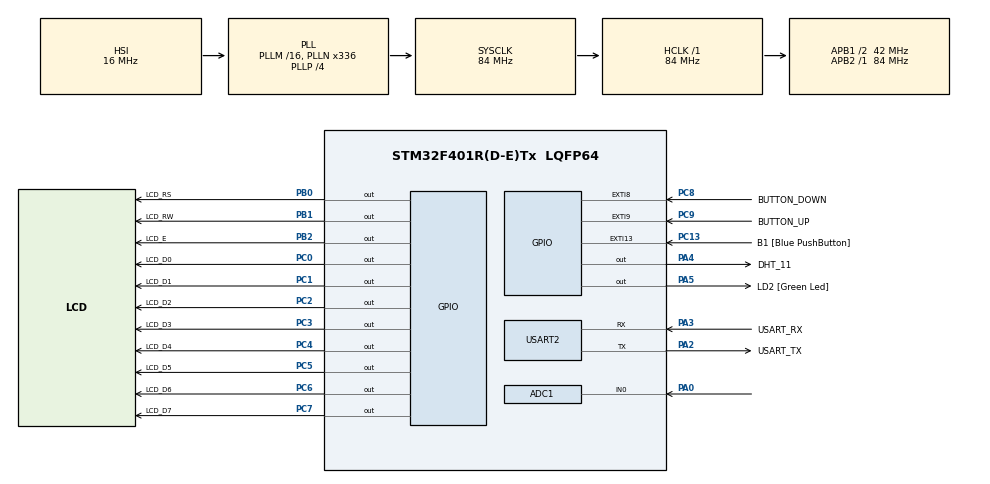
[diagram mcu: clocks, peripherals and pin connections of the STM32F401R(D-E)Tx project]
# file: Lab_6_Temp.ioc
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ADC1.Channel-0\#ChannelRegularConversion=ADC_CHANNEL_0
ADC1.ClockPrescaler=ADC_CLOCK_SYNC_PCLK_DIV8
ADC1.NbrOfConversionFlag=1
ADC1.Rank-0\#ChannelRegularConversion=1
ADC1.SamplingTime-0\#ChannelRegularConversion=ADC_SAMPLETIME_480CYCLES
ADC1.ScanConvMode=DISABLE
ADC1.master=1
Mcu.Family=STM32F4
Mcu.Name=STM32F401R(D-E)Tx
Mcu.Package=LQFP64
NVIC.EXTI9_5_IRQn=true\:0\:0\:false\:false\:true\:true
NVIC.PriorityGroup=NVIC_PRIORITYGROUP_0
NVIC.TIM1_TRG_COM_TIM11_IRQn=true\:0\:0\:false\:false\:true\:true
NVIC.TIM1_UP_TIM10_IRQn=true\:0\:0\:false\:false\:true\:true
PA0-WKUP.Signal=ADCx_IN0
PA13.GPIO_Label=TMS
PA13.Mode=Serial_Wire
PA13.Signal=SYS_JTMS-SWDIO
PA14.GPIO_Label=TCK
PA14.Mode=Serial_Wire
PA14.Signal=SYS_JTCK-SWCLK
PA2.GPIO_Label=USART_TX
PA2.GPIO_Mode=GPIO_MODE_AF_PP
PA2.GPIO_PuPd=GPIO_NOPULL
PA2.GPIO_Speed=GPIO_SPEED_FREQ_LOW
PA2.Mode=Asynchronous
PA2.Signal=USART2_TX
PA3.GPIO_Label=USART_RX
PA3.GPIO_Mode=GPIO_MODE_AF_PP
PA3.GPIO_PuPd=GPIO_NOPULL
PA3.GPIO_Speed=GPIO_SPEED_FREQ_LOW
PA3.Mode=Asynchronous
PA3.Signal=USART2_RX
PA4.GPIO_Label=DHT_11
PA4.GPIO_ModeDefaultOutputPP=GPIO_MODE_OUTPUT_OD
PA4.GPIO_PuPd=GPIO_PULLUP
PA4.Signal=GPIO_Output
PA5.GPIO_Label=LD2 [Green Led]
PA5.GPIO_Mode=GPIO_MODE_OUTPUT_PP
PA5.GPIO_PuPd=GPIO_NOPULL
PA5.GPIO_Speed=GPIO_SPEED_FREQ_LOW
PA5.Signal=GPIO_Output
PB0.GPIO_Label=LCD_RS
PB0.Signal=GPIO_Output
PB1.GPIO_Label=LCD_RW
PB1.Signal=GPIO_Output
PB2.GPIO_Label=LCD_E
PB2.Signal=GPIO_Output
PB3.GPIO_Label=SWO
PB3.Signal=SYS_JTDO-SWO
PC0.GPIO_Label=LCD_D0
PC0.Signal=GPIO_Output
PC1.GPIO_Label=LCD_D1
PC1.Signal=GPIO_Output
PC13-ANTI_TAMP.GPIO_Label=B1 [Blue PushButton]
PC13-ANTI_TAMP.GPIO_ModeDefaultEXTI=GPIO_MODE_IT_FALLING
PC13-ANTI_TAMP.GPIO_PuPd=GPIO_NOPULL
PC13-ANTI_TAMP.Signal=GPXTI13
PC14-OSC32_IN.Mode=LSE-External-Oscillator
PC14-OSC32_IN.Signal=RCC_OSC32_IN
PC15-OSC32_OUT.Mode=LSE-External-Oscillator
PC15-OSC32_OUT.Signal=RCC_OSC32_OUT
PC2.GPIO_Label=LCD_D2
PC2.Signal=GPIO_Output
PC3.GPIO_Label=LCD_D3
PC3.Signal=GPIO_Output
PC4.GPIO_Label=LCD_D4
PC4.Signal=GPIO_Output
PC5.GPIO_Label=LCD_D5
PC5.Signal=GPIO_Output
PC6.GPIO_Label=LCD_D6
PC6.Signal=GPIO_Output
PC7.GPIO_Label=LCD_D7
PC7.Signal=GPIO_Output
PC8.GPIO_Label=BUTTON_DOWN
PC8.GPIO_ModeDefaultEXTI=GPIO_MODE_IT_FALLING
PC8.Signal=GPXTI8
PC9.GPIO_Label=BUTTON_UP
PC9.GPIO_ModeDefaultEXTI=GPIO_MODE_IT_FALLING
PC9.Signal=GPXTI9
PH0\ -\ OSC_IN.Mode=HSE-External-Clock-Source
PH0\ -\ OSC_IN.Signal=RCC_OSC_IN
PH1\ -\ OSC_OUT.Mode=HSE-External-Clock-Source
PH1\ -\ OSC_OUT.Signal=RCC_OSC_OUT
ProjectManager.HeapSize=0x200
ProjectManager.StackSize=0x400
ProjectManager.TargetToolchain=TrueSTUDIO
RCC.48MHZClocksFreq_Value=48000000
RCC.AHBFreq_Value=84000000
RCC.APB1CLKDivider=RCC_HCLK_DIV2
RCC.APB1Freq_Value=42000000
RCC.APB1TimFreq_Value=84000000
RCC.APB2Freq_Value=84000000
RCC.APB2TimFreq_Value=84000000
RCC.CortexFreq_Value=84000000
RCC.HCLKFreq_Value=84000000
RCC.HSE_VALUE=8000000
RCC.HSI_VALUE=16000000
RCC.PLLN=336
RCC.PLLP=RCC_PLLP_DIV4
RCC.PLLQ=7
RCC.SYSCLKFreq_VALUE=84000000
RCC.SYSCLKSource=RCC_SYSCLKSOURCE_PLLCLK
RCC.VCOOutputFreq_Value=336000000
SH.ADCx_IN0.0=ADC1_IN0,IN0
TIM10.Period=62499
TIM10.Prescaler=1343
TIM11.Period=79
USART2.VirtualMode=VM_ASYNC
VP_TIM10_VS_ClockSourceINT.Mode=Enable_Timer
VP_TIM11_VS_ClockSourceINT.Mode=Enable_Timer
board=NUCLEO-F401RE

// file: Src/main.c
/**
 ******************************************************************************
 * @file           : main.c
 * @brief          : Main program body
 ******************************************************************************
 ** This notice applies to any and all portions of this file
 * that are not between comment pairs USER CODE BEGIN and
 * USER CODE END. Other portions of this file, whether
 * inserted by the user or by software development tools
 * are owned by their respective copyright owners.
 *
 * COPYRIGHT(c) 2018 STMicroelectronics
 *
 * Redistribution and use in source and binary forms, with or without modification,
 * are permitted provided that the following conditions are met:
 *   1. Redistributions of source code must retain the above copyright notice,
 *      this list of conditions and the following disclaimer.
 *   2. Redistributions in binary form must reproduce the above copyright notice,
 *      this list of conditions and the following disclaimer in the documentation
 *      and/or other materials provided with the distribution.
 *   3. Neither the name of STMicroelectronics nor the names of its contributors
 *      may be used to endorse or promote products derived from this software
 *      without specific prior written permission.
 *
 * THIS SOFTWARE IS PROVIDED BY THE COPYRIGHT HOLDERS AND CONTRIBUTORS "AS IS"
 * AND ANY EXPRESS OR IMPLIED WARRANTIES, INCLUDING, BUT NOT LIMITED TO, THE
 * IMPLIED WARRANTIES OF MERCHANTABILITY AND FITNESS FOR A PARTICULAR PURPOSE ARE
 * DISCLAIMED. IN NO EVENT SHALL THE COPYRIGHT HOLDER OR CONTRIBUTORS BE LIABLE
 * FOR ANY DIRECT, INDIRECT, INCIDENTAL, SPECIAL, EXEMPLARY, OR CONSEQUENTIAL
 * DAMAGES (INCLUDING, BUT NOT LIMITED TO, PROCUREMENT OF SUBSTITUTE GOODS OR
 * SERVICES; LOSS OF USE, DATA, OR PROFITS; OR BUSINESS INTERRUPTION) HOWEVER
 * CAUSED AND ON ANY THEORY OF LIABILITY, WHETHER IN CONTRACT, STRICT LIABILITY,
 * OR TORT (INCLUDING NEGLIGENCE OR OTHERWISE) ARISING IN ANY WAY OUT OF THE USE
 * OF THIS SOFTWARE, EVEN IF ADVISED OF THE POSSIBILITY OF SUCH DAMAGE.
 *
 ******************************************************************************
 */
#include "main.h"
#include "stm32f4xx_hal.h"

/* USER CODE BEGIN Includes */
#include <math.h>
#include "delay.h"
#include "lcdDisplay.h"
/* USER CODE END Includes */

ADC_HandleTypeDef hadc1;

TIM_HandleTypeDef htim10;
TIM_HandleTypeDef htim11;

UART_HandleTypeDef huart2;

/* USER CODE BEGIN PV */
/* Private variables ---------------------------------------------------------*/
extern uint32_t sekTick, usekTick;
TextLCDType lcd;
uint8_t rows = 2, cols = 16;

typedef enum {
	s_ZERO, s_ONE
} position_state;
//typedef enum {FALSE, TRUE} bool;
position_state s_position = s_ZERO;

uint32_t sekCounter = 0;

uint16_t channel_1 = 0;

uint16_t DHT11_timeout = 10000;
int16_t DHT11_buff_raw[41];
int8_t DHT11_data[5];
int8_t _userTemp = 20;
/* USER CODE END PV */

void SystemClock_Config(void);
static void MX_GPIO_Init(void);
static void MX_USART2_UART_Init(void);
static void MX_TIM10_Init(void);
static void MX_TIM11_Init(void);
static void MX_ADC1_Init(void);

/* USER CODE BEGIN PFP */
/* Private function prototypes -----------------------------------------------*/
//HAL_GPIO_EXTI_IRQHandler(uint16_t GPIO_Pin);
void HAL_GPIO_EXTI_Callback(uint16_t GPIO_Pin);
int16_t read_DHT11(void);
int16_t read_DHT11_bit_raw(void);
int16_t readAnalogTemp(void);
void printClock(TextLCDType *lcd, uint8_t x, uint8_t y, uint8_t time);
void decreaseUserTemp(void);
void increaseUserTemp(void);
/* USER CODE END PFP */

int main(void) {

	/* MCU Configuration----------------------------------------------------------*/

	/* Reset of all peripherals, Initializes the Flash interface and the Systick. */
	HAL_Init();

	/* Configure the system clock */
	SystemClock_Config();

	/* Initialize all configured peripherals */
	MX_GPIO_Init();
	MX_TIM10_Init();
	MX_TIM11_Init();
	MX_ADC1_Init();
	/* USER CODE BEGIN 2 */
	MX_USART2_UART_Init();

	HAL_TIM_Base_Start_IT(&htim10);
	TextLCD_Init(&lcd, LCD_RS_GPIO_Port, LCD_RS_Pin, LCD_RW_Pin, LCD_E_Pin,
	LCD_D0_GPIO_Port,
			(LCD_D0_Pin | LCD_D1_Pin | LCD_D2_Pin | LCD_D3_Pin | LCD_D4_Pin
					| LCD_D5_Pin | LCD_D6_Pin | LCD_D7_Pin), rows, cols);

	TextLCD_Puts(&lcd, "Goddag! :)");
	/* USER CODE END 2 */

	/* Infinite loop */
	/* USER CODE BEGIN WHILE */
	int i = 0;

	uint8_t sekCount = 0;
	sekTick = 39660;
	uint32_t currentSek = sekTick + 1;
	uint16_t str[20];

	int16_t _temp;
	int16_t _DHT11;
	while (1) {

		/* USER CODE END WHILE */

		/* USER CODE BEGIN 3 */

		if (currentSek != sekTick) {

			uint32_t temp = sekTick;

			uint32_t hours = temp / 3600;
			uint32_t tenHours = hours / 10;

			uint32_t minutes = (temp % 3600) / 60;
			uint32_t tenMinutes = minutes / 10;

			uint32_t seconds = temp % 60;
			uint32_t tenSeconds = seconds / 10;

			TextLCD_Position(&lcd, 1, 0);

			//TextLCD_Position(lcd, x, y);

			TextLCD_Putchar(&lcd, 0x30 + tenHours);
			TextLCD_Putchar(&lcd, 0x30 + hours % 10);
			TextLCD_Putchar(&lcd, ':');
			TextLCD_Putchar(&lcd, 0x30 + tenMinutes);
			TextLCD_Putchar(&lcd, 0x30 + (minutes % 10));
			TextLCD_Putchar(&lcd, ':');
			TextLCD_Putchar(&lcd, 0x30 + (tenSeconds % 10));
			TextLCD_Putchar(&lcd, 0x30 + (seconds % 10));

			//USER TEMP PRINT
			TextLCD_Position(&lcd, 0, 10);
			TextLCD_PutInt(&lcd, _userTemp);
			TextLCD_Putchar(&lcd, 'C');
			TextLCD_Putchar(&lcd, ' ');

			currentSek = sekTick;

			sekCount = (sekCount + 1) % 60;
			i++;

			HAL_GPIO_TogglePin(LD2_GPIO_Port, LD2_Pin);

			//HAL_Delay(1000);

		}
		//every 5th second
		if ((sekTick % 2) == 0) {
			HAL_Delay(1000);

			_temp = readAnalogTemp();
			_DHT11 = read_DHT11();

			sprintf(str, "DHT11:%d | temp:%d \n\r", _DHT11, _temp);
			HAL_UART_Transmit(&huart2, str, strlen(str), 1000);

			TextLCD_Position(&lcd, 1, 9);
			TextLCD_PutInt(&lcd, _DHT11);
			TextLCD_Putchar(&lcd, 'C');
			TextLCD_PutInt(&lcd, _temp);
			TextLCD_Putchar(&lcd, 'C');
			TextLCD_Putchar(&lcd, ' ');
		}

		HAL_Delay(10);

	}
	/* USER CODE END 3 */

}

void SystemClock_Config(void) {

	RCC_OscInitTypeDef RCC_OscInitStruct;
	RCC_ClkInitTypeDef RCC_ClkInitStruct;

	/**Configure the main internal regulator output voltage
	 */
	__HAL_RCC_PWR_CLK_ENABLE()
	;

	__HAL_PWR_VOLTAGESCALING_CONFIG(PWR_REGULATOR_VOLTAGE_SCALE2);

	/**Initializes the CPU, AHB and APB busses clocks
	 */
	RCC_OscInitStruct.OscillatorType = RCC_OSCILLATORTYPE_HSI;
	RCC_OscInitStruct.HSIState = RCC_HSI_ON;
	RCC_OscInitStruct.HSICalibrationValue = 16;
	RCC_OscInitStruct.PLL.PLLState = RCC_PLL_ON;
	RCC_OscInitStruct.PLL.PLLSource = RCC_PLLSOURCE_HSI;
	RCC_OscInitStruct.PLL.PLLM = 16;
	RCC_OscInitStruct.PLL.PLLN = 336;
	RCC_OscInitStruct.PLL.PLLP = RCC_PLLP_DIV4;
	RCC_OscInitStruct.PLL.PLLQ = 7;
	if (HAL_RCC_OscConfig(&RCC_OscInitStruct) != HAL_OK) {
		_Error_Handler(__FILE__, __LINE__);
	}

	/**Initializes the CPU, AHB and APB busses clocks
	 */
	RCC_ClkInitStruct.ClockType = RCC_CLOCKTYPE_HCLK | RCC_CLOCKTYPE_SYSCLK
			| RCC_CLOCKTYPE_PCLK1 | RCC_CLOCKTYPE_PCLK2;
	RCC_ClkInitStruct.SYSCLKSource = RCC_SYSCLKSOURCE_PLLCLK;
	RCC_ClkInitStruct.AHBCLKDivider = RCC_SYSCLK_DIV1;
	RCC_ClkInitStruct.APB1CLKDivider = RCC_HCLK_DIV2;
	RCC_ClkInitStruct.APB2CLKDivider = RCC_HCLK_DIV1;

	if (HAL_RCC_ClockConfig(&RCC_ClkInitStruct, FLASH_LATENCY_2) != HAL_OK) {
		_Error_Handler(__FILE__, __LINE__);
	}

	/**Configure the Systick interrupt time
	 */
	HAL_SYSTICK_Config(HAL_RCC_GetHCLKFreq() / 1000);

	/**Configure the Systick
	 */
	HAL_SYSTICK_CLKSourceConfig(SYSTICK_CLKSOURCE_HCLK);

	/* SysTick_IRQn interrupt configuration */
	HAL_NVIC_SetPriority(SysTick_IRQn, 0, 0);
}

/* ADC1 init function */
static void MX_ADC1_Init(void) {

	ADC_ChannelConfTypeDef sConfig;

	/**Configure the global features of the ADC (Clock, Resolution, Data Alignment and number of conversion)
	 */
	hadc1.Instance = ADC1;
	hadc1.Init.ClockPrescaler = ADC_CLOCK_SYNC_PCLK_DIV8;
	hadc1.Init.Resolution = ADC_RESOLUTION_12B;
	hadc1.Init.ScanConvMode = DISABLE;
	hadc1.Init.ContinuousConvMode = DISABLE;
	hadc1.Init.DiscontinuousConvMode = DISABLE;
	hadc1.Init.ExternalTrigConvEdge = ADC_EXTERNALTRIGCONVEDGE_NONE;
	hadc1.Init.ExternalTrigConv = ADC_SOFTWARE_START;
	hadc1.Init.DataAlign = ADC_DATAALIGN_RIGHT;
	hadc1.Init.NbrOfConversion = 1;
	hadc1.Init.DMAContinuousRequests = DISABLE;
	hadc1.Init.EOCSelection = ADC_EOC_SINGLE_CONV;
	if (HAL_ADC_Init(&hadc1) != HAL_OK) {
		_Error_Handler(__FILE__, __LINE__);
	}

	/**Configure for the selected ADC regular channel its corresponding rank in the sequencer and its sample time.
	 */
	sConfig.Channel = ADC_CHANNEL_0;
	sConfig.Rank = 1;
	sConfig.SamplingTime = ADC_SAMPLETIME_480CYCLES;
	if (HAL_ADC_ConfigChannel(&hadc1, &sConfig) != HAL_OK) {
		_Error_Handler(__FILE__, __LINE__);
	}

}

/* TIM10 init function */
static void MX_TIM10_Init(void) {

	htim10.Instance = TIM10;
	htim10.Init.Prescaler = 1343;
	htim10.Init.CounterMode = TIM_COUNTERMODE_UP;
	htim10.Init.Period = 62499;
	htim10.Init.ClockDivision = TIM_CLOCKDIVISION_DIV1;
	if (HAL_TIM_Base_Init(&htim10) != HAL_OK) {
		_Error_Handler(__FILE__, __LINE__);
	}

}

/* TIM11 init function */
static void MX_TIM11_Init(void) {

	htim11.Instance = TIM11;
	htim11.Init.Prescaler = 0;
	htim11.Init.CounterMode = TIM_COUNTERMODE_UP;
	htim11.Init.Period = 79;
	htim11.Init.ClockDivision = TIM_CLOCKDIVISION_DIV1;
	if (HAL_TIM_Base_Init(&htim11) != HAL_OK) {
		_Error_Handler(__FILE__, __LINE__);
	}

}

/* USART2 init function */
static void MX_USART2_UART_Init(void) {

	huart2.Instance = USART2;
	huart2.Init.BaudRate = 115200;
	huart2.Init.WordLength = UART_WORDLENGTH_8B;
	huart2.Init.StopBits = UART_STOPBITS_1;
	huart2.Init.Parity = UART_PARITY_NONE;
	huart2.Init.Mode = UART_MODE_TX_RX;
	huart2.Init.HwFlowCtl = UART_HWCONTROL_NONE;
	huart2.Init.OverSampling = UART_OVERSAMPLING_16;
	if (HAL_UART_Init(&huart2) != HAL_OK) {
		_Error_Handler(__FILE__, __LINE__);
	}

}

/** Configure pins as
 * Analog
 * Input
 * Output
 * EVENT_OUT
 * EXTI
 */
static void MX_GPIO_Init(void) {

	GPIO_InitTypeDef GPIO_InitStruct;

	/* GPIO Ports Clock Enable */
	__HAL_RCC_GPIOC_CLK_ENABLE()
	;
	__HAL_RCC_GPIOH_CLK_ENABLE()
	;
	__HAL_RCC_GPIOA_CLK_ENABLE()
	;
	__HAL_RCC_GPIOB_CLK_ENABLE()
	;

	/*Configure GPIO pin Output Level */
	HAL_GPIO_WritePin(GPIOC,
			LCD_D0_Pin | LCD_D1_Pin | LCD_D2_Pin | LCD_D3_Pin | LCD_D4_Pin
					| LCD_D5_Pin | LCD_D6_Pin | LCD_D7_Pin, GPIO_PIN_RESET);

	/*Configure GPIO pin Output Level */
	HAL_GPIO_WritePin(GPIOA, DHT_11_Pin | LD2_Pin, GPIO_PIN_RESET);

	/*Configure GPIO pin Output Level */
	HAL_GPIO_WritePin(GPIOB, LCD_RS_Pin | LCD_RW_Pin | LCD_E_Pin,
			GPIO_PIN_RESET);

	/*Configure GPIO pins : B1_Pin BUTTON_DOWN_Pin BUTTON_UP_Pin */
	GPIO_InitStruct.Pin = B1_Pin | BUTTON_DOWN_Pin | BUTTON_UP_Pin;
	GPIO_InitStruct.Mode = GPIO_MODE_IT_FALLING;
	GPIO_InitStruct.Pull = GPIO_NOPULL;
	HAL_GPIO_Init(GPIOC, &GPIO_InitStruct);

	/*Configure GPIO pins : LCD_D0_Pin LCD_D1_Pin LCD_D2_Pin LCD_D3_Pin
	 LCD_D4_Pin LCD_D5_Pin LCD_D6_Pin LCD_D7_Pin */
	GPIO_InitStruct.Pin = LCD_D0_Pin | LCD_D1_Pin | LCD_D2_Pin | LCD_D3_Pin
			| LCD_D4_Pin | LCD_D5_Pin | LCD_D6_Pin | LCD_D7_Pin;
	GPIO_InitStruct.Mode = GPIO_MODE_OUTPUT_PP;
	GPIO_InitStruct.Pull = GPIO_NOPULL;
	GPIO_InitStruct.Speed = GPIO_SPEED_FREQ_LOW;
	HAL_GPIO_Init(GPIOC, &GPIO_InitStruct);

	/*Configure GPIO pin : DHT_11_Pin */
	GPIO_InitStruct.Pin = DHT_11_Pin;
	GPIO_InitStruct.Mode = GPIO_MODE_OUTPUT_OD;
	GPIO_InitStruct.Pull = GPIO_PULLUP;
	GPIO_InitStruct.Speed = GPIO_SPEED_FREQ_LOW;
	HAL_GPIO_Init(DHT_11_GPIO_Port, &GPIO_InitStruct);

	/*Configure GPIO pin : LD2_Pin */
	GPIO_InitStruct.Pin = LD2_Pin;
	GPIO_InitStruct.Mode = GPIO_MODE_OUTPUT_PP;
	GPIO_InitStruct.Pull = GPIO_NOPULL;
	GPIO_InitStruct.Speed = GPIO_SPEED_FREQ_LOW;
	HAL_GPIO_Init(LD2_GPIO_Port, &GPIO_InitStruct);

	/*Configure GPIO pins : LCD_RS_Pin LCD_RW_Pin LCD_E_Pin */
	GPIO_InitStruct.Pin = LCD_RS_Pin | LCD_RW_Pin | LCD_E_Pin;
	GPIO_InitStruct.Mode = GPIO_MODE_OUTPUT_PP;
	GPIO_InitStruct.Pull = GPIO_NOPULL;
	GPIO_InitStruct.Speed = GPIO_SPEED_FREQ_LOW;
	HAL_GPIO_Init(GPIOB, &GPIO_InitStruct);

	/* EXTI interrupt init*/
	HAL_NVIC_SetPriority(EXTI9_5_IRQn, 0, 0);
	HAL_NVIC_EnableIRQ(EXTI9_5_IRQn);

}

/* USER CODE BEGIN 4 */

int16_t read_DHT11(void) {
	uint16_t cnt = 0;

	//Initiate conversion
	HAL_Delay(100);
	HAL_GPIO_WritePin(DHT_11_GPIO_Port, DHT_11_Pin, 0);
	HAL_Delay(20);
	HAL_GPIO_WritePin(DHT_11_GPIO_Port, DHT_11_Pin, 1);

	//Make sure GPIO is high before we start to compute data from DHT11 sensor
	while (HAL_GPIO_ReadPin(DHT_11_GPIO_Port, DHT_11_Pin) == 1) {
		cnt++;
		if (cnt > DHT11_timeout) {
			return -99;
		}
	}

	//Read raw bit timing values. Negative values indicates 0 and positive values 1.
	for (uint8_t k = 0; k < 41; k++) {
		DHT11_buff_raw[k] = read_DHT11_bit_raw();
	}

	//Convering raw timing values. Negative values indicates 0 and positive values 1.
	uint8_t val;
	for (uint8_t byte = 0; byte < 5; byte++) {
		val = 0;
		for (uint8_t bit = 0; bit < 8; bit++) {
			if (DHT11_buff_raw[(byte << 3) + bit + 1] >= DHT11_timeout) {
				return -99;
			}
			val = val << 1; //shift left as MSB first
			//Check if we timed out during reading bit
			if (DHT11_buff_raw[(byte << 3) + bit + 1] > 0) {
				val = val | 0x01;
			}
		}
		DHT11_data[byte] = val;
	}

	uint8_t sum = 0;
	for (int byte = 0; byte < 4; byte++) {
		sum = sum + DHT11_data[byte];
	}

	if (sum != DHT11_data[4]) {
		return -99;
	}

	return DHT11_data[2];
}

int16_t read_DHT11_bit_raw(void) {
	uint16_t cnt_low = 0;

	//count how long many loops the GPIO pin is low
	while (HAL_GPIO_ReadPin(DHT_11_GPIO_Port, DHT_11_Pin) == 0) {
		cnt_low++;
		if (cnt_low >= DHT11_timeout)
			return DHT11_timeout;
	}

	uint16_t cnt_high = 0;

	//count how long many loops the GPIO pin is high
	while (HAL_GPIO_ReadPin(DHT_11_GPIO_Port, DHT_11_Pin) == 1) {
		cnt_high++;
		if (cnt_high >= DHT11_timeout) {
			return DHT11_timeout;
		}
	}

	//Return the difference between low and high count.
	//Will be < 0 for a '0'-bit and > 0 for a '1'-bit
	return cnt_high - cnt_low;
}

int16_t readAnalogTemp(void) {
	int16_t temperature = 0;
	float maxADCValue = 4096.0;

	HAL_ADC_Start(&hadc1);
	if (HAL_ADC_PollForConversion(&hadc1, HAL_MAX_DELAY) == HAL_OK) {
		channel_1 = HAL_ADC_GetValue(&hadc1);
	}
	HAL_ADC_Stop(&hadc1);

	float Vout = (3.3 / maxADCValue) * channel_1;

	/*Calculate Thermistor Resistance. Code Begin */
	//R1 = -(10k*V/(V-1))		där v är Vin/Vcc
	//!float Vin = channel_1 / (float) maxADCValue;
	//float R1 = (-1.0) * ((10000.0 * Vin) / (Vin - 1.0f));
	//!float R1 = 10000 * (Vin/5) - 1;

	float Rth = ((10000 * 5) / Vout) - 10000;

	/*Calculate Thermistor Resistance. Code End*/

	/*Calculate Thermistor temp. Code Begin*/
	//FORMEL:: temp = 1/( ( ((ln R1 - ln 10000)/B) + (1/298.15) ) )
	float B = 3450;
	//!float C = (1.0f / 298.15);
//
	//!float lgr1 = logf(R1);
	//!float lg10k = logf(10000.0);
//
	//!float X = (lgr1 - lg10k) / B;
//
	//!float T = 1.0f / (X + C);

	float T = (298.15 * B) / ((298.15 * logf(Rth / 10000)) + B);

	temperature = (int16_t) T;
	/*Calculate Thermistor temp. Code End*/
	return temperature - 273;
}

void decreaseUserTemp(void) {
	if (_userTemp > 15)
		_userTemp = _userTemp - 1;
}
void increaseUserTemp(void) {
	if (_userTemp < 30)
		_userTemp = _userTemp + 1;
}

void printClock(TextLCDType *lcd, uint8_t x, uint8_t y, uint8_t time) {
//	uint8_t tempTime = time;
//
//	uint8_t min = tempTime % 10;
//	tempTime = tempTime / 10;
//
//	uint8_t tioMin = (tempTime % 6);
//	tempTime = tempTime / 6;
//
//	uint8_t hour = tempTime % 10;
//	tempTime = tempTime % 10;
//
//	uint8_t tioHours = tempTime;

	uint32_t temp = sekTick;

	uint32_t hours = temp / 3600;
	uint32_t tenHours = hours / 10;

	uint32_t minutes = (temp % 3600) / 60;
	uint32_t tenMinutes = minutes / 10;

	uint32_t seconds = temp % 60;
	uint32_t tenSeconds = seconds / 10;

	TextLCD_Position(lcd, x, y);
	HAL_Delay(5);
	//TextLCD_Putchar(lcd, 0x30+tioHours);
	//TextLCD_Putchar(lcd, 0x30+hour);
	TextLCD_Putchar(lcd, ':');
	HAL_Delay(5);
	//TextLCD_Putchar(lcd, 0x30+tioMin);
	//TextLCD_Putchar(lcd, 0x30+min);
}
//void HAL_GPIO_EXTI_IRQHandler
void HAL_GPIO_EXTI_Callback(uint16_t GPIO_Pin) {
	//Echo pin
	if (GPIO_Pin == BUTTON_UP_Pin) {
		increaseUserTemp();
	}
	if (GPIO_Pin == BUTTON_DOWN_Pin) {
		decreaseUserTemp();
	}
}
/* USER CODE END 4 */

void _Error_Handler(char *file, int line) {
	while (1) {
	}
}

/************************ (C) COPYRIGHT STMicroelectronics *****END OF FILE****/
